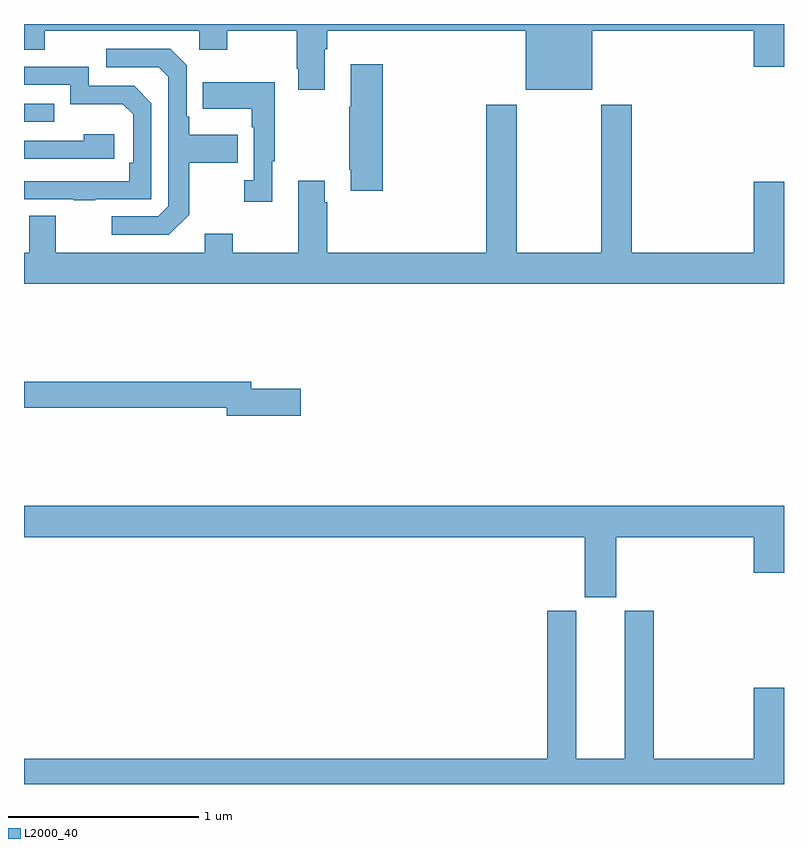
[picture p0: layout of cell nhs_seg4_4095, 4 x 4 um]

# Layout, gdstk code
import gdstk
lib = gdstk.Library(unit=1e-6, precision=1e-09)
def R(c, l, rs):  # rectangles x0, y0, x1, y1
    for r in rs: c.add(gdstk.rectangle(r[:2], r[2:], *l))
def P(c, l, *ps):  # polygons
    for p in ps: c.add(gdstk.Polygon(p, *l))
L2000_40 = (2000, 40)

nhs_seg4_4095 = lib.new_cell('nhs_seg4_4095')
R(nhs_seg4_4095, L2000_40, [(329,752.385,329.159,752.481)])
P(nhs_seg4_4095, L2000_40, [(330.583,752.768),(330.596,752.768),(330.596,752.864),(331.64,752.864),(331.64,752.555),(331.99,752.555),(331.99,752.864),(332.84,752.864),(332.84,752.676),(333,752.676),(333,752.9),(329,752.9),(329,752.765),(329.109,752.765),(329.109,752.864),(329.922,752.864),(329.922,752.765),(330.069,752.765),(330.069,752.864),(330.436,752.864),(330.436,752.665),(330.443,752.665),(330.443,752.553),(330.583,752.553)],
  [(329.869,751.897),(329.869,752.17),(330.125,752.17),(330.125,752.317),(329.869,752.317),(329.869,752.413),(329.856,752.413),(329.856,752.682),(329.769,752.769),(329.433,752.769),(329.433,752.673),(329.709,752.673),(329.76,752.622),(329.76,751.941),(329.706,751.887),(329.463,751.887),(329.463,751.791),(329.763,751.791)],
  [(330.887,752.689),(330.719,752.689),(330.719,752.465),(330.712,752.465),(330.712,752.134),(330.719,752.134),(330.719,752.022),(330.887,752.022)],
  [(329.375,751.977),(329.67,751.977),(329.67,752.484),(329.58,752.574),(329.34,752.574),(329.34,752.676),(329,752.676),(329,752.58),(329.244,752.58),(329.244,752.477),(329.521,752.477),(329.574,752.424),(329.574,752.17),(329.554,752.17),(329.554,752.073),(329,752.073),(329,751.977),(329.263,751.977),(329.263,751.972),(329.375,751.972)],
  [(330.307,752.177),(330.319,752.177),(330.319,752.593),(329.941,752.593),(329.941,752.453),(330.198,752.453),(330.198,752.357),(330.21,752.357),(330.21,752.078),(330.159,752.078),(330.159,751.965),(330.307,751.965)],
  [(333,752.071),(332.84,752.071),(332.84,751.696),(332.198,751.696),(332.198,752.476),(332.038,752.476),(332.038,751.696),(331.593,751.696),(331.593,752.476),(331.433,752.476),(331.433,751.696),(330.596,751.696),(330.596,751.961),(330.583,751.961),(330.583,752.074),(330.443,752.074),(330.443,751.696),(330.099,751.696),(330.099,751.795),(329.951,751.795),(329.951,751.696),(329.167,751.696),(329.167,751.891),(329.027,751.891),(329.027,751.696),(329,751.696),(329,751.532),(333,751.532)],
  [(329.476,752.32),(329.315,752.32),(329.315,752.286),(329,752.286),(329,752.19),(329.476,752.19)],
  [(330.457,750.98),(330.196,750.98),(330.196,751.016),(329,751.016),(329,750.88),(330.068,750.88),(330.068,750.838),(330.457,750.838)],
  [(332.116,750.2),(332.84,750.2),(332.84,750.012),(333,750.012),(333,750.364),(329,750.364),(329,750.2),(331.952,750.2),(331.952,749.883),(332.116,749.883)],
  [(333,749.407),(332.84,749.407),(332.84,749.032),(332.315,749.032),(332.315,749.811),(332.162,749.811),(332.162,749.032),(331.906,749.032),(331.906,749.811),(331.754,749.811),(331.754,749.032),(329,749.032),(329,748.9),(333,748.9)])

lib.write_gds('nhs_seg4_4095.gds')
